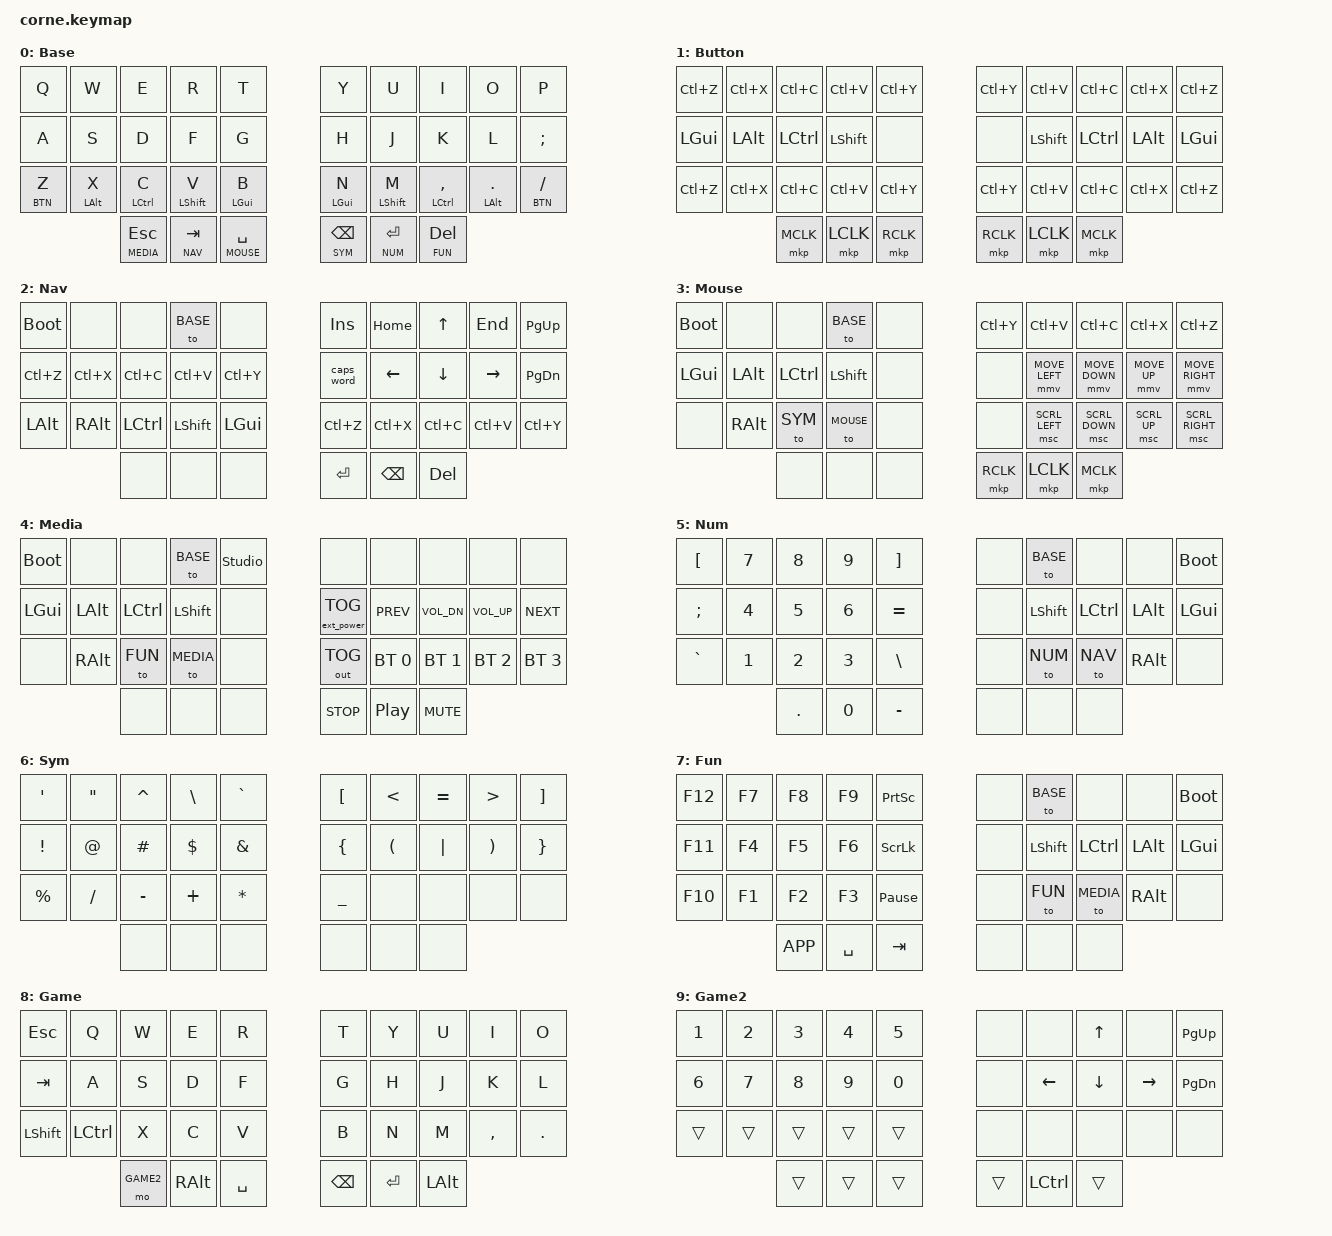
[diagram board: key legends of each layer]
/*
 * Corne 36-key (5-column) — ported from a Miryoku layout for ZMK Studio.
 *
 * Split of labor:
 *   - Move plain keys around LIVE in ZMK Studio (the &kp positions).
 *   - Tune the mod-tap / layer-tap timings HERE in this file (see behaviors block).
 *
 * NOTE: once you start managing the keymap in Studio, edits to this file won't
 * apply until you use "Restore Stock Settings" in Studio. Adding new empty
 * "reserved" layers is the sanctioned exception.
 */

#include <behaviors.dtsi>
#include <dt-bindings/zmk/keys.h>
#include <dt-bindings/zmk/bt.h>
#include <dt-bindings/zmk/outputs.h>
#include <dt-bindings/zmk/ext_power.h>
#include <dt-bindings/zmk/pointing.h>

// Layer indices — used by &mo / &ltp / &to below. Studio shows the display-names.
#define BASE  0
#define BTN   1
#define NAV   2
#define MOUSE 3
#define MEDIA 4
#define NUM   5
#define SYM   6
#define FUN   7
#define GAME  8
#define GAME2 9

/ {
    chosen {
        // Default to the 36-key / 5-column physical layout (your board).
        // The 6-column layout is still compiled in and selectable from Studio.
        zmk,physical-layout = &foostan_corne_5col_layout;
    };

    behaviors {
        /*
         * Bottom-row mod-tap: hold = modifier, tap = key.
         * Miryoku baseline reproduced exactly: tap-preferred, 200 ms.
         * This is your "deep control" surface — tune it here:
         *   flavor: "tap-preferred" | "balanced" | "hold-preferred"
         *   tapping-term-ms: lower = mods trigger sooner
         *   quick-tap-ms: tap-then-hold within N ms repeats the TAP (good for
         *                 holding a letter to repeat it)
         *   require-prior-idle-ms: suppress the hold if you were just typing
         *                          (biggest single win against HRM misfires)
         */
        hm: bottom_row_mod_tap {
            compatible = "zmk,behavior-hold-tap";
            #binding-cells = <2>;
            flavor = "tap-preferred";
            tapping-term-ms = <200>;
            // quick-tap-ms = <175>;
            // require-prior-idle-ms = <150>;
            bindings = <&kp>, <&kp>;
        };

        /*
         * Layer-tap: hold = momentary layer, tap = key. Same Miryoku baseline.
         * Tune independently from the mods above.
         */
        ltp: layer_tap_preferred {
            compatible = "zmk,behavior-hold-tap";
            #binding-cells = <2>;
            flavor = "tap-preferred";
            tapping-term-ms = <200>;
            quick-tap-ms = <200>;          // tap, then hold within 200ms → repeats the tap (hold-to-delete on Bspc/Del)
            // require-prior-idle-ms = <150>;
            bindings = <&mo>, <&kp>;
        };
    };

    combos {
        compatible = "zmk,combos";

        // Enter/exit the Gaming layer. key-positions 34 & 35 are the two
        // right-hand thumb keys — your right hand is on the mouse while
        // gaming, so these never fire by accident in-game. Press both
        // together to toggle in; press both together again to toggle out.
        // Restricted to Base + Game so stray thumb presses on other layers
        // can't flip it. (Position numbers: top row 0-9, middle 10-19,
        // bottom 20-29, thumbs 30-35 left-to-right.)
        combo_game {
            timeout-ms = <50>;
            key-positions = <34 35>;
            bindings = <&tog GAME>;
            layers = <BASE GAME>;
        };
    };

    keymap {
        compatible = "zmk,keymap";

        base_layer {
            display-name = "Base";
            bindings = <
   &kp Q         &kp W         &kp E          &kp R          &kp T             &kp Y            &kp U          &kp I             &kp O           &kp P
   &kp A         &kp S         &kp D          &kp F          &kp G             &kp H            &kp J          &kp K             &kp L           &kp SEMI
   &ltp BTN Z     &hm LALT X    &hm LCTRL C    &hm LSHFT V    &hm LGUI B        &hm LGUI N       &hm LSHFT M    &hm LCTRL COMMA   &hm LALT DOT    &ltp BTN SLASH
                               &ltp MEDIA ESC  &ltp NAV TAB    &ltp MOUSE SPACE   &ltp SYM BSPC     &ltp NUM RET    &ltp FUN DEL
            >;
        };

        button_layer {
            display-name = "Button";
            bindings = <
   &kp LC(Z)     &kp LC(X)     &kp LC(C)      &kp LC(V)      &kp LC(Y)         &kp LC(Y)        &kp LC(V)      &kp LC(C)         &kp LC(X)       &kp LC(Z)
   &kp LGUI      &kp LALT      &kp LCTRL      &kp LSHFT      &none             &none            &kp LSHFT      &kp LCTRL         &kp LALT        &kp LGUI
   &kp LC(Z)     &kp LC(X)     &kp LC(C)      &kp LC(V)      &kp LC(Y)         &kp LC(Y)        &kp LC(V)      &kp LC(C)         &kp LC(X)       &kp LC(Z)
                               &mkp MCLK      &mkp LCLK      &mkp RCLK         &mkp RCLK        &mkp LCLK      &mkp MCLK
            >;
        };

        nav_layer {
            display-name = "Nav";
            bindings = <
   &bootloader   &none         &none          &to BASE       &none             &kp INS          &kp HOME       &kp UP            &kp END         &kp PG_UP
   &kp LC(Z)     &kp LC(X)     &kp LC(C)      &kp LC(V)      &kp LC(Y)         &caps_word       &kp LEFT       &kp DOWN          &kp RIGHT       &kp PG_DN
   &kp LALT      &kp RALT      &kp LCTRL      &kp LSHFT      &kp LGUI          &kp LC(Z)        &kp LC(X)      &kp LC(C)         &kp LC(V)       &kp LC(Y)
                               &none          &none          &none             &kp RET          &kp BSPC       &kp DEL
            >;
        };

        mouse_layer {
            display-name = "Mouse";
            bindings = <
   &bootloader   &none         &none          &to BASE       &none             &kp LC(Y)        &kp LC(V)      &kp LC(C)         &kp LC(X)       &kp LC(Z)
   &kp LGUI      &kp LALT      &kp LCTRL      &kp LSHFT      &none             &none            &mmv MOVE_LEFT &mmv MOVE_DOWN    &mmv MOVE_UP    &mmv MOVE_RIGHT
   &none         &kp RALT      &to SYM        &to MOUSE      &none             &none            &msc SCRL_LEFT &msc SCRL_DOWN    &msc SCRL_UP    &msc SCRL_RIGHT
                               &none          &none          &none             &mkp RCLK        &mkp LCLK      &mkp MCLK
            >;
        };

        media_layer {
            display-name = "Media";
            bindings = <
   &bootloader   &none         &none          &to BASE       &studio_unlock    &none            &none          &none             &none           &none
   &kp LGUI      &kp LALT      &kp LCTRL      &kp LSHFT      &none             &ext_power EP_TOG &kp C_PREV     &kp C_VOL_DN      &kp C_VOL_UP    &kp C_NEXT
   &none         &kp RALT      &to FUN        &to MEDIA      &none             &out OUT_TOG     &bt BT_SEL 0   &bt BT_SEL 1      &bt BT_SEL 2    &bt BT_SEL 3
                               &none          &none          &none             &kp C_STOP       &kp C_PP       &kp C_MUTE
            >;
        };

        num_layer {
            display-name = "Num";
            bindings = <
   &kp LBKT      &kp N7        &kp N8         &kp N9         &kp RBKT          &none            &to BASE       &none             &none           &bootloader
   &kp SEMI      &kp N4        &kp N5         &kp N6         &kp EQUAL         &none            &kp LSHFT      &kp LCTRL         &kp LALT        &kp LGUI
   &kp GRAVE     &kp N1        &kp N2         &kp N3         &kp BSLH          &none            &to NUM        &to NAV           &kp RALT        &none
                               &kp DOT        &kp N0         &kp MINUS         &none            &none          &none
            >;
        };

        sym_layer {
            display-name = "Sym";
            bindings = <
   &kp SQT       &kp DQT       &kp CARET      &kp BSLH       &kp GRAVE         &kp LBKT         &kp LT         &kp EQUAL         &kp GT          &kp RBKT
   &kp EXCL      &kp AT        &kp HASH       &kp DLLR       &kp AMPS          &kp LBRC         &kp LPAR       &kp PIPE          &kp RPAR        &kp RBRC
   &kp PRCNT     &kp SLASH     &kp MINUS      &kp PLUS       &kp ASTRK         &kp UNDER        &none          &none             &none           &none
                               &none          &none          &none             &none            &none          &none
            >;
        };

        fun_layer {
            display-name = "Fun";
            bindings = <
   &kp F12       &kp F7        &kp F8         &kp F9         &kp PSCRN         &none            &to BASE       &none             &none           &bootloader
   &kp F11       &kp F4        &kp F5         &kp F6         &kp SLCK          &none            &kp LSHFT      &kp LCTRL         &kp LALT        &kp LGUI
   &kp F10       &kp F1        &kp F2         &kp F3         &kp PAUSE_BREAK   &none            &to FUN        &to MEDIA         &kp RALT        &none
                               &kp K_APP      &kp SPACE      &kp TAB           &none            &none          &none
            >;
        };

        // GAMING (Satisfactory) — shifted one column RIGHT for ergonomics: your left
        // hand rests on the E/S/D/F keys but they still send W/A/S/D, so no in-game
        // rebinding. Outer-left column is Esc/Tab/Shift (sprint under the pinky). P, ;
        // and / fell off the right edge — none are Satisfactory binds. Left Ctrl sits on
        // the 2nd-column bottom key (build snap / mass-dismantle; crouch stays on C).
        // Thumbs: Game2 · Right Alt · Space | Backspace · Enter · Left Alt. Right Alt is
        // on the LEFT thumb so you hold it and scroll your mouse/trackpad to cycle
        // hotbars (also RAlt + click = ping); Left Alt on the right thumb saves to hotbar.
        game_layer {
            display-name = "Game";
            bindings = <
   &kp ESC       &kp Q         &kp W          &kp E          &kp R             &kp T            &kp Y          &kp U             &kp I           &kp O
   &kp TAB       &kp A         &kp S          &kp D          &kp F             &kp G            &kp H          &kp J             &kp K           &kp L
   &kp LSHFT     &kp LCTRL     &kp X          &kp C          &kp V             &kp B            &kp N          &kp M             &kp COMMA       &kp DOT
                               &mo GAME2      &kp RALT       &kp SPACE         &kp BSPC         &kp RET        &kp LALT
            >;
        };

        // GAME2 — momentary, HELD via &mo from the Game layer (inner-left thumb).
        // Left hand = hotbar 1-0 (tap a slot; right hand can stay on the mouse).
        // Right hand = nudge cluster for fine-placing a locked hologram (lock with
        // H first): inverted-T arrows + Page Up/Down for vertical nudge. Hold the
        // right-thumb Ctrl for 0.5 m half-nudges. Left bottom row + left thumbs are
        // &trans, so Shift/Ctrl/Space and the Alt/RCtrl thumbs pass through while held.
        game2_layer {
            display-name = "Game2";
            bindings = <
   &kp N1        &kp N2        &kp N3         &kp N4         &kp N5            &none            &none          &kp UP            &none           &kp PG_UP
   &kp N6        &kp N7        &kp N8         &kp N9         &kp N0            &none            &kp LEFT       &kp DOWN          &kp RIGHT       &kp PG_DN
   &trans        &trans        &trans         &trans         &trans            &none            &none          &none             &none           &none
                               &trans         &trans         &trans            &trans           &kp LCTRL      &trans
            >;
        };

        // Empty layer reserved for you to fill in live from ZMK Studio.
        extra1 { status = "reserved"; };
    };
};
